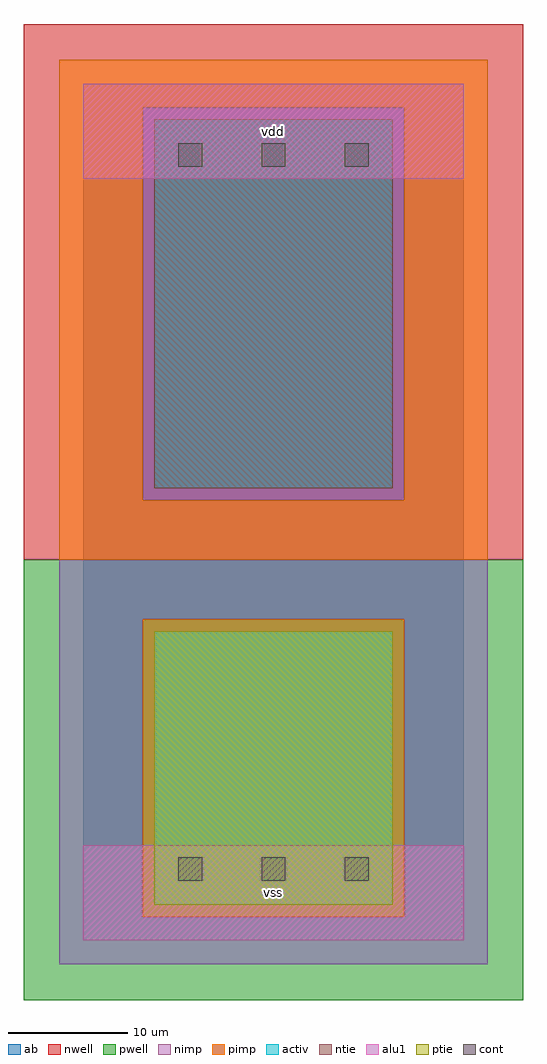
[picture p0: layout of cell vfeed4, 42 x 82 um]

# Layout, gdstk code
import gdstk
lib = gdstk.Library(unit=1e-6, precision=1e-09)
def R(c, l, rs):  # rectangles x0, y0, x1, y1
    for r in rs: c.add(gdstk.rectangle(r[:2], r[2:], *l))
def A(c, l, x, y, w, h, nx, ny, dx, dy):  # array of equal rectangles
    R(c, l, [(x+i*dx, y+j*dy, x+i*dx+w, y+j*dy+h) for i in range(nx) for j in range(ny)])
ntie = (5, 0)
ptie = (6, 0)
cont = (25, 0)
pwell = (41, 0)
nwell = (42, 0)
activ = (43, 0)
pimp = (44, 0)
nimp = (45, 0)
alu1 = (49, 0)
ab = (63, 0)

vfeed4 = lib.new_cell('vfeed4')
R(vfeed4, ntie, [(6,38,26,69)])
R(vfeed4, ptie, [(6,3,26,26)])
A(vfeed4, cont, 8, 5, 2, 2, 3, 2, 7, 60)
R(vfeed4, pwell, [(-5,-5,37,32)])
R(vfeed4, nwell, [(-5,32,37,77)])
R(vfeed4, activ, [(6,3,26,26), (6,38,26,69)])
R(vfeed4, pimp, [(5,2,27,27), (-2,32,34,37), (-2,37,5,70), (27,37,34,70), (-2,70,34,74)])
R(vfeed4, nimp, [(-2,-2,34,2), (-2,2,5,27), (27,2,34,27), (-2,27,34,32), (5,37,27,70)])
R(vfeed4, alu1, [(0,0,32,8), (0,64,32,72)])
R(vfeed4, ab, [(0,0,32,72)])
vfeed4.add(gdstk.Label('vss', (16,4), layer=49, texttype=0))
vfeed4.add(gdstk.Label('vdd', (16,68), layer=49, texttype=0))

lib.write_gds('vfeed4.gds')
